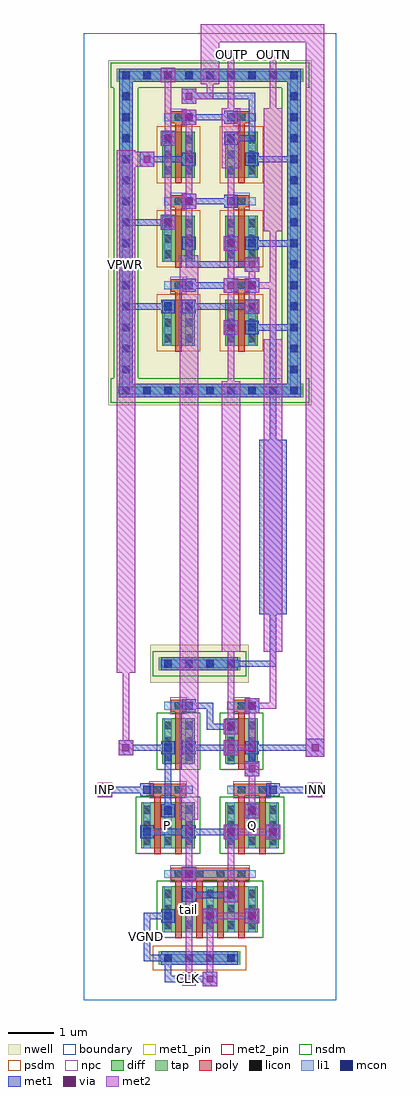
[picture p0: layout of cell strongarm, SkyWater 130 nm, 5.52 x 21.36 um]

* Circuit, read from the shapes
.subckt strongarm CLK INN INP OUTN OUTP P Q VGND VPWR tail
XM1 P INP tail VGND sky130_fd_pr__nfet_01v8 w=1 l=0.15 m=2
XM2 tail CLK VGND VGND sky130_fd_pr__nfet_01v8 w=1 l=0.15 m=4
XM3 OUTN OUTP P VGND sky130_fd_pr__nfet_01v8 w=1 l=0.15
XM4 Q INN tail VGND sky130_fd_pr__nfet_01v8 w=1 l=0.15 m=2
XM5 Q OUTN OUTP VGND sky130_fd_pr__nfet_01v8 w=1 l=0.15
XM6 OUTN OUTP VPWR VPWR sky130_fd_pr__pfet_01v8 w=1 l=0.15
XM7 OUTN CLK VPWR VPWR sky130_fd_pr__pfet_01v8 w=1 l=0.15
XM8 P CLK VPWR VPWR sky130_fd_pr__pfet_01v8 w=1 l=0.15
XM9 VPWR OUTN OUTP VPWR sky130_fd_pr__pfet_01v8 w=1 l=0.15
XM10 VPWR CLK OUTP VPWR sky130_fd_pr__pfet_01v8 w=1 l=0.15
XM11 VPWR CLK Q VPWR sky130_fd_pr__pfet_01v8 w=1 l=0.15
.ends

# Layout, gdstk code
import gdstk
lib = gdstk.Library(unit=1e-6, precision=1e-09)
def R(c, l, rs):  # rectangles x0, y0, x1, y1
    for r in rs: c.add(gdstk.rectangle(r[:2], r[2:], *l))
def A(c, l, x, y, w, h, nx, ny, dx, dy):  # array of equal rectangles
    R(c, l, [(x+i*dx, y+j*dy, x+i*dx+w, y+j*dy+h) for i in range(nx) for j in range(ny)])
nwell = (64, 20)
diff = (65, 20)
tap = (65, 44)
poly = (66, 20)
licon = (66, 44)
li1 = (67, 20)
mcon = (67, 44)
met1_pin = (68, 16)
met1 = (68, 20)
via = (68, 44)
met2_pin = (69, 16)
met2 = (69, 20)
nsdm = (93, 44)
psdm = (94, 20)
npc = (95, 20)
boundary = (235, 4)

strongarm = lib.new_cell('strongarm')
R(strongarm, nwell, [(1.455,6.94,3.605,7.78), (0.535,13.015,4.985,20.565)])
A(strongarm, diff, 1.715, 14.32, 0.71, 1, 1, 3, 0, 1.84)
A(strongarm, diff, 3.095, 14.32, 0.71, 1, 1, 3, 0, 1.84)
R(strongarm, diff, [(1.715,1.485,3.805,2.485), (1.255,3.325,2.425,4.325), (3.095,3.325,4.265,4.325), (1.715,5.165,2.425,6.165), (3.095,5.165,3.805,6.165)])
R(strongarm, tap, [(1.635,0.775,3.425,1.065), (1.635,7.215,3.425,7.505), (0.715,13.195,4.805,13.485), (0.775,13.195,1.065,20.385), (4.455,13.195,4.745,20.385), (0.715,20.095,4.805,20.385)])
A(strongarm, poly, 1.995, 1.355, 0.15, 1.405, 4, 1, 0.46, 0)
A(strongarm, poly, 1.995, 14.19, 0.15, 1.45, 1, 3, 0, 1.84)
A(strongarm, poly, 3.375, 14.19, 0.15, 1.45, 1, 3, 0, 1.84)
A(strongarm, poly, 1.905, 15.505, 0.33, 0.27, 1, 3, 0, 1.84)
A(strongarm, poly, 3.285, 15.505, 0.33, 0.27, 1, 3, 0, 1.84)
R(strongarm, poly, [(1.905,2.625,3.615,2.895), (1.535,3.195,1.685,4.6), (1.995,3.195,2.145,4.6), (3.375,3.195,3.525,4.6), (3.835,3.195,3.985,4.6), (1.445,4.465,2.235,4.735), (3.285,4.465,4.075,4.735), (1.995,5.035,2.145,6.44), (3.375,5.035,3.525,6.44), (1.905,6.305,2.235,6.575), (3.285,6.305,3.615,6.575)])
A(strongarm, licon, 1.755, 0.835, 0.17, 0.17, 4, 2, 0.46, 6.44)
A(strongarm, licon, 1.755, 1.56, 0.17, 0.17, 5, 3, 0.46, 0.34)
A(strongarm, licon, 1.985, 2.675, 0.17, 0.17, 4, 1, 0.46, 0)
A(strongarm, licon, 1.295, 3.4, 0.17, 0.17, 3, 3, 0.46, 0.34)
A(strongarm, licon, 3.135, 3.4, 0.17, 0.17, 3, 3, 0.46, 0.34)
A(strongarm, licon, 1.755, 5.24, 0.17, 0.17, 1, 3, 0, 0.34)
A(strongarm, licon, 2.215, 5.24, 0.17, 0.17, 1, 3, 0, 0.34)
A(strongarm, licon, 3.135, 5.24, 0.17, 0.17, 1, 3, 0, 0.34)
A(strongarm, licon, 3.595, 5.24, 0.17, 0.17, 1, 3, 0, 0.34)
A(strongarm, licon, 0.835, 13.255, 0.17, 0.17, 9, 2, 0.46, 6.9)
A(strongarm, licon, 0.835, 13.715, 0.17, 0.17, 1, 14, 0, 0.46)
A(strongarm, licon, 4.515, 13.715, 0.17, 0.17, 1, 14, 0, 0.46)
A(strongarm, licon, 1.755, 14.395, 0.17, 0.17, 1, 3, 0, 0.34)
A(strongarm, licon, 2.215, 14.395, 0.17, 0.17, 1, 3, 0, 0.34)
A(strongarm, licon, 3.135, 14.395, 0.17, 0.17, 1, 3, 0, 0.34)
A(strongarm, licon, 3.595, 14.395, 0.17, 0.17, 1, 3, 0, 0.34)
A(strongarm, licon, 1.985, 15.555, 0.17, 0.17, 1, 3, 0, 1.84)
A(strongarm, licon, 3.365, 15.555, 0.17, 0.17, 1, 3, 0, 1.84)
A(strongarm, licon, 1.755, 16.235, 0.17, 0.17, 1, 3, 0, 0.34)
A(strongarm, licon, 2.215, 16.235, 0.17, 0.17, 1, 3, 0, 0.34)
A(strongarm, licon, 3.135, 16.235, 0.17, 0.17, 1, 3, 0, 0.34)
A(strongarm, licon, 3.595, 16.235, 0.17, 0.17, 1, 3, 0, 0.34)
A(strongarm, licon, 1.755, 18.075, 0.17, 0.17, 1, 3, 0, 0.34)
A(strongarm, licon, 2.215, 18.075, 0.17, 0.17, 1, 3, 0, 0.34)
A(strongarm, licon, 3.135, 18.075, 0.17, 0.17, 1, 3, 0, 0.34)
A(strongarm, licon, 3.595, 18.075, 0.17, 0.17, 1, 3, 0, 0.34)
R(strongarm, licon, [(1.525,4.515,1.695,4.685), (1.985,4.515,2.155,4.685), (3.365,4.515,3.535,4.685), (3.825,4.515,3.995,4.685), (1.985,6.355,2.155,6.525), (3.365,6.355,3.535,6.525)])
A(strongarm, li1, 1.755, 1.48, 0.17, 1.01, 5, 1, 0.46, 0)
A(strongarm, li1, 1.295, 3.32, 0.17, 1.01, 3, 1, 0.46, 0)
A(strongarm, li1, 3.135, 3.32, 0.17, 1.01, 3, 1, 0.46, 0)
A(strongarm, li1, 1.755, 14.315, 0.17, 1.01, 1, 3, 0, 1.84)
A(strongarm, li1, 2.215, 14.315, 0.17, 1.01, 1, 3, 0, 1.84)
A(strongarm, li1, 3.135, 14.315, 0.17, 1.01, 1, 3, 0, 1.84)
A(strongarm, li1, 3.595, 14.315, 0.17, 1.01, 1, 3, 0, 1.84)
A(strongarm, li1, 1.755, 15.555, 0.63, 0.17, 1, 3, 0, 1.84)
A(strongarm, li1, 3.135, 15.555, 0.63, 0.17, 1, 3, 0, 1.84)
R(strongarm, li1, [(1.675,0.835,3.385,1.005), (1.755,2.675,3.765,2.845), (1.295,4.515,2.385,4.685), (3.135,4.515,4.225,4.685), (1.755,5.16,1.925,6.17), (2.215,5.16,2.385,6.17), (3.135,5.16,3.305,6.17), (3.595,5.16,3.765,6.17), (1.755,6.355,2.385,6.525), (3.135,6.355,3.765,6.525), (1.675,7.275,3.385,7.445), (0.755,13.255,4.765,13.425), (0.835,13.255,1.005,20.325), (4.515,13.255,4.685,20.325), (0.755,20.155,4.765,20.325)])
A(strongarm, mcon, 1.755, 0.835, 0.17, 0.17, 4, 2, 0.46, 6.44)
A(strongarm, mcon, 1.755, 1.755, 0.17, 0.17, 3, 1, 0.92, 0)
A(strongarm, mcon, 1.295, 3.595, 0.17, 0.17, 4, 1, 0.92, 0)
A(strongarm, mcon, 0.835, 13.255, 0.17, 0.17, 9, 2, 0.46, 6.9)
A(strongarm, mcon, 0.835, 13.715, 0.17, 0.17, 1, 4, 0, 0.46)
A(strongarm, mcon, 4.515, 13.715, 0.17, 0.17, 1, 11, 0, 0.46)
A(strongarm, mcon, 0.835, 15.555, 0.17, 0.17, 3, 2, 1.38, 2.76)
A(strongarm, mcon, 0.835, 16.015, 0.17, 0.17, 1, 5, 0, 0.46)
A(strongarm, mcon, 0.835, 18.775, 0.17, 0.17, 1, 3, 0, 0.46)
A(strongarm, mcon, 1.755, 18.775, 0.17, 0.17, 3, 1, 1.38, 0)
R(strongarm, mcon, [(2.215,2.215,2.385,2.385), (3.135,2.215,3.305,2.385), (2.215,2.675,2.385,2.845), (1.755,4.055,1.925,4.225), (3.595,4.055,3.765,4.225), (1.295,4.515,1.465,4.685), (4.055,4.515,4.225,4.685), (1.755,5.435,1.925,5.605), (2.215,5.435,2.385,5.605), (3.595,5.435,3.765,5.605), (3.135,5.895,3.305,6.065), (2.215,6.355,2.385,6.525), (3.595,6.355,3.765,6.525), (3.135,14.635,3.305,14.805), (3.595,14.635,3.765,14.805), (1.755,15.095,1.925,15.265), (2.215,15.095,2.385,15.265), (2.215,16.475,2.385,16.645), (3.135,16.475,3.305,16.645), (3.595,16.475,3.765,16.645), (1.755,16.935,1.925,17.105), (2.215,17.395,2.385,17.565), (3.135,17.395,3.305,17.565), (2.215,19.235,2.385,19.405), (3.135,19.235,3.305,19.405), (4.515,19.235,4.685,19.405), (4.515,19.695,4.685,19.865)])
R(strongarm, met1_pin, [(1.31,0.85,1.45,1.91), (0.85,15.11,0.99,17.09)])
A(strongarm, met1, 1.695, 1.695, 0.29, 0.29, 3, 1, 0.92, 0)
A(strongarm, met1, 1.235, 3.535, 0.29, 0.29, 4, 1, 0.92, 0)
A(strongarm, met1, 3.06, 14.56, 0.32, 0.32, 1, 3, 0, 0.92)
A(strongarm, met1, 3.535, 14.575, 0.29, 0.29, 1, 3, 0, 0.92)
A(strongarm, met1, 3.61, 14.65, 1.06, 0.14, 1, 3, 0, 1.84)
A(strongarm, met1, 3.52, 15.02, 0.32, 0.32, 1, 3, 0, 0.46)
A(strongarm, met1, 1.695, 15.035, 0.29, 0.29, 1, 3, 0, 1.84)
A(strongarm, met1, 2.155, 15.495, 0.29, 0.29, 1, 5, 0, 0.92)
A(strongarm, met1, 2.23, 15.57, 1.06, 0.14, 1, 3, 0, 1.84)
R(strongarm, met1, [(2.6,0.3,2.92,0.62), (1.77,0.39,2.83,0.53), (1.77,0.39,1.91,0.99), (1.695,0.775,3.365,1.065), (1.31,0.85,1.45,1.91), (1.31,0.85,1.91,0.99), (1.77,0.85,1.91,0.99), (2.6,1.68,2.92,2), (3.52,1.68,3.84,2), (1.31,1.77,1.91,1.91), (3.06,2.14,3.38,2.46), (2.155,2.155,2.445,2.445), (3.075,2.155,3.365,2.445), (2.23,2.23,3.29,2.37), (2.14,2.6,2.46,2.92), (2.155,2.615,2.445,2.905), (3.06,3.52,3.38,3.84), (3.98,3.52,4.3,3.84), (1.31,3.61,2.37,3.75), (2.23,3.61,3.29,3.75), (3.52,3.98,3.84,4.3), (1.695,3.995,1.985,4.285), (3.535,3.995,3.825,4.285), (1.77,4.07,1.91,5.59), (0.3,4.44,0.62,4.76), (4.9,4.44,5.22,4.76), (1.235,4.455,1.525,4.745), (3.995,4.455,4.285,4.745), (0.39,4.53,1.45,4.67), (4.07,4.53,5.13,4.67), (3.52,4.9,3.84,5.22), (3.61,4.99,3.75,5.59), (4.86,5.32,5.26,5.72), (0.76,5.36,1.08,5.68), (3.06,5.36,3.38,5.68), (1.695,5.375,1.985,5.665), (2.155,5.375,2.445,5.665), (3.535,5.375,3.825,5.665), (0.85,5.45,1.91,5.59), (2.23,5.45,3.29,5.59), (3.61,5.45,5.13,5.59), (3.06,5.82,3.38,6.14), (3.075,5.835,3.365,6.125), (2.69,5.91,2.83,6.51), (2.69,5.91,3.29,6.05), (3.52,6.28,3.84,6.6), (2.155,6.295,2.445,6.585), (3.535,6.295,3.825,6.585), (2.23,6.37,2.83,6.51), (1.695,7.215,3.365,7.505), (3.15,7.29,4.21,7.43), (3.15,7.29,3.29,7.43), (4.07,7.29,4.21,8.81), (3.84,8.44,4.44,12.26), (4.07,11.89,4.21,14.79), (0.775,13.195,4.745,13.485), (0.775,13.195,1.065,20.385), (4.455,13.195,4.745,20.385), (3.075,14.575,3.365,14.865), (4.53,14.65,4.67,14.79), (4.53,14.65,4.67,16.63), (2.155,15.035,2.445,15.325), (0.85,15.11,1.91,15.25), (0.85,15.11,0.99,17.09), (2.23,15.11,3.75,15.25), (2.23,16.03,3.75,16.17), (2.23,16.03,2.37,16.63), (3.075,16.415,3.365,16.705), (4.53,16.49,4.67,20.31), (1.68,16.86,2,17.18), (0.85,16.95,1.91,17.09), (2.14,17.32,2.46,17.64), (3.075,17.335,3.365,17.625), (1.22,18.24,1.54,18.56), (3.535,18.255,3.825,18.545), (1.31,18.33,2.37,18.47), (1.68,18.7,2,19.02), (3.075,18.715,3.365,19.005), (3.15,18.79,3.75,18.93), (3.61,18.79,3.75,19.85), (2.14,19.16,2.46,19.48), (3.075,19.175,3.365,19.465), (2.14,19.62,2.46,19.94), (2.23,19.71,3.75,19.85), (1.68,20.08,2,20.4), (0.775,20.095,4.745,20.385), (1.77,20.17,4.67,20.31), (4.53,20.17,4.67,20.31)])
A(strongarm, via, 3.145, 14.645, 0.15, 0.15, 1, 3, 0, 0.92)
A(strongarm, via, 3.605, 15.105, 0.15, 0.15, 1, 3, 0, 0.46)
R(strongarm, via, [(2.685,0.385,2.835,0.535), (2.685,1.765,2.835,1.915), (3.605,1.765,3.755,1.915), (3.145,2.225,3.295,2.375), (2.225,2.685,2.375,2.835), (3.145,3.605,3.295,3.755), (4.065,3.605,4.215,3.755), (3.605,4.065,3.755,4.215), (0.385,4.525,0.535,4.675), (4.985,4.525,5.135,4.675), (3.605,4.985,3.755,5.135), (0.845,5.445,0.995,5.595), (3.145,5.445,3.295,5.595), (4.985,5.445,5.135,5.595), (3.145,5.905,3.295,6.055), (3.605,6.365,3.755,6.515), (1.765,16.945,1.915,17.095), (2.225,17.405,2.375,17.555), (1.305,18.325,1.455,18.475), (1.765,18.785,1.915,18.935), (2.225,19.245,2.375,19.395), (2.225,19.705,2.375,19.855), (1.765,20.165,1.915,20.315)])
R(strongarm, met2_pin, [(2.15,0.31,2.45,0.61), (0.31,4.45,0.61,4.75), (4.91,4.45,5.21,4.75), (3.15,20.63,3.29,20.77), (4.07,20.63,4.21,20.77)])
A(strongarm, met2, 3.06, 14.56, 0.32, 0.32, 1, 3, 0, 0.92)
A(strongarm, met2, 3.52, 15.02, 0.32, 0.32, 1, 3, 0, 0.46)
R(strongarm, met2, [(2.6,0.3,2.92,0.62), (2.15,0.31,2.45,0.61), (2.23,0.39,2.37,0.53), (2.23,0.39,2.37,2.83), (2.69,0.39,2.83,1.91), (2.6,1.68,2.92,2), (3.52,1.68,3.84,2), (2.69,1.77,3.75,1.91), (3.06,2.14,3.38,2.46), (3.15,2.23,3.29,3.75), (2.14,2.6,2.46,2.92), (2.23,2.69,2.37,4.21), (3.06,3.52,3.38,3.84), (3.98,3.52,4.3,3.84), (3.15,3.61,4.21,3.75), (2.1,3.94,2.5,16.3), (3.52,3.98,3.84,4.3), (3.61,4.07,3.75,5.13), (0.3,4.44,0.62,4.76), (4.9,4.44,5.22,4.76), (0.31,4.45,0.61,4.75), (4.91,4.45,5.21,4.75), (0.39,4.53,0.53,4.67), (4.99,4.53,5.13,4.67), (3.52,4.9,3.84,5.22), (4.86,5.32,5.26,5.72), (4.86,5.32,5.26,21.36), (0.76,5.36,1.08,5.68), (3.06,5.36,3.38,5.68), (0.85,5.45,0.99,7.43), (3.15,5.45,3.75,5.59), (3.61,5.45,3.75,6.51), (3.06,5.82,3.38,6.14), (3.15,5.91,3.29,7.89), (3.52,6.28,3.84,6.6), (3.61,6.37,4.21,6.51), (4.07,6.37,4.21,7.89), (0.72,7.16,1.12,18.6), (3.02,7.62,3.42,13.54), (3.94,7.62,4.34,14.46), (3.15,13.27,3.29,14.79), (4.07,14.19,4.21,15.71), (3.15,14.65,3.29,16.63), (3.61,15.11,3.75,15.71), (3.61,15.57,4.21,15.71), (3.61,15.57,3.75,16.17), (4.07,15.57,4.21,17.09), (2.23,16.03,2.37,17.55), (3.15,16.49,3.29,18.47), (3.94,16.82,4.34,19.52), (1.68,16.86,2,17.18), (1.77,16.95,1.91,18.93), (2.14,17.32,2.46,17.64), (2.23,17.41,2.37,19.39), (3.02,18.2,3.42,19.52), (1.12,18.24,1.22,18.56), (1.22,18.24,1.54,18.56), (0.85,18.33,1.45,18.47), (1.68,18.7,2,19.02), (1.77,18.79,1.91,20.31), (2.14,19.16,2.46,19.48), (3.15,19.25,3.29,20.77), (4.07,19.25,4.21,20.77), (2.14,19.62,2.46,19.94), (2.23,19.71,2.83,19.85), (2.69,19.71,2.83,20.31), (2.56,20.04,2.96,21.36), (1.68,20.08,2,20.4), (3.15,20.63,3.29,20.77), (4.07,20.63,4.21,20.77), (2.56,20.96,5.26,21.36)])
R(strongarm, nsdm, [(1.59,1.36,3.93,2.61), (1.13,3.2,2.55,4.45), (2.97,3.2,4.39,4.45), (1.59,5.04,2.55,6.29), (2.97,5.04,3.93,6.29), (1.51,7.09,3.55,7.63), (0.59,13.07,4.93,13.61), (0.65,13.61,1.19,19.97), (4.33,13.61,4.87,19.97), (0.59,19.97,4.93,20.51)])
A(strongarm, psdm, 1.59, 14.195, 0.96, 1.25, 1, 3, 0, 1.84)
A(strongarm, psdm, 2.97, 14.195, 0.96, 1.25, 1, 3, 0, 1.84)
R(strongarm, psdm, [(1.51,0.65,3.55,1.19)])
A(strongarm, npc, 1.885, 15.455, 0.37, 0.37, 1, 3, 0, 1.84)
A(strongarm, npc, 3.265, 15.455, 0.37, 0.37, 1, 3, 0, 1.84)
R(strongarm, npc, [(1.885,2.575,3.635,2.945), (1.425,4.415,2.255,4.785), (3.265,4.415,4.095,4.785), (1.885,6.255,2.255,6.625), (3.265,6.255,3.635,6.625)])
R(strongarm, boundary, [(0,0,5.52,21.16)])
strongarm.add(gdstk.Label('tail', (2.3,1.985), layer=67, texttype=5))
strongarm.add(gdstk.Label('P', (1.84,3.825), layer=67, texttype=5))
strongarm.add(gdstk.Label('Q', (3.68,3.825), layer=67, texttype=5))
strongarm.add(gdstk.Label('VPWR', (0.92,16.1), layer=68, texttype=5))
strongarm.add(gdstk.Label('VGND', (1.38,1.38), layer=68, texttype=5))
strongarm.add(gdstk.Label('CLK', (2.3,0.46), layer=69, texttype=5))
strongarm.add(gdstk.Label('INP', (0.46,4.6), layer=69, texttype=5))
strongarm.add(gdstk.Label('INN', (5.06,4.6), layer=69, texttype=5))
strongarm.add(gdstk.Label('OUTP', (3.22,20.7), layer=69, texttype=5))
strongarm.add(gdstk.Label('OUTN', (4.14,20.7), layer=69, texttype=5))
strongarm.add(gdstk.Label('VPWR', (0.92,16.1), layer=68, texttype=16))
strongarm.add(gdstk.Label('VGND', (1.38,1.38), layer=68, texttype=16))
strongarm.add(gdstk.Label('CLK', (2.3,0.46), layer=69, texttype=16))
strongarm.add(gdstk.Label('INP', (0.46,4.6), layer=69, texttype=16))
strongarm.add(gdstk.Label('INN', (5.06,4.6), layer=69, texttype=16))
strongarm.add(gdstk.Label('OUTP', (3.22,20.7), layer=69, texttype=16))
strongarm.add(gdstk.Label('OUTN', (4.14,20.7), layer=69, texttype=16))

lib.write_gds('strongarm.gds')
